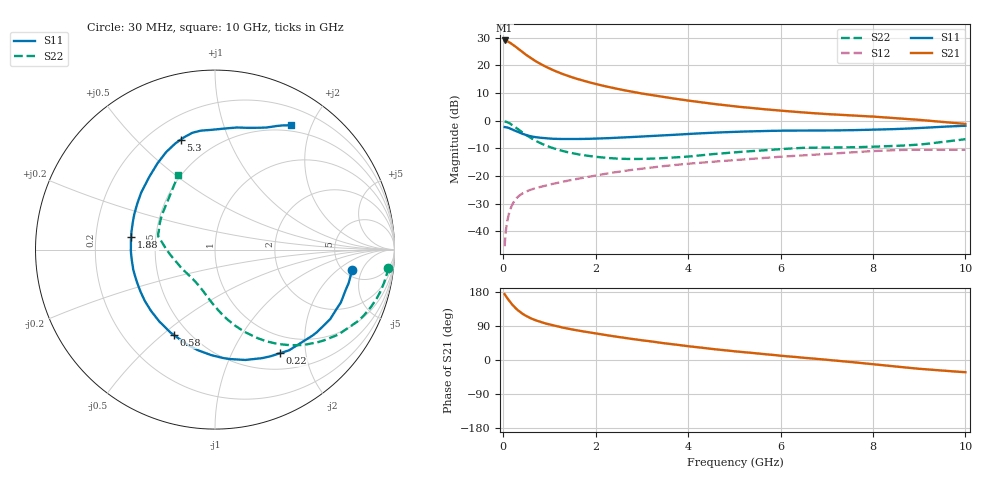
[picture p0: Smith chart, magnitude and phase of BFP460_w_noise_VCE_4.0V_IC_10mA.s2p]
! (c) 2016  Infineon Technologies AG, Munich
! Infineon Technologies  Discrete & RF Semiconductors
! BFP460
! VCE =  4.0 V,  IC =  10 mA
! Common Emitter S-Parameters:  Jan 2016
# GHz  S  MA  R  50
!  f  S11  S21  S12  S22
! GHz  MAG  ANG  MAG  ANG  MAG  ANG  MAG  ANG
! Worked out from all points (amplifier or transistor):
!   229 points, 30 MHz to 10 GHz, reference 50 ohm
!   highest |S21| = 29.1 dB at 30 MHz (marker M1)
!   |S21| within 3 dB of that: start of sweep to 324.5 MHz
!   unconditionally stable (mu >= 1): 2.443 GHz to 7.714 GHz
!   at 280 MHz: K = 0.27, MSG = 27.4 dB, |S12| = -28.2 dB
!   at 1.78 GHz: K = 0.92, MSG = 17.4 dB, |S12| = -20.4 dB
!   at 10 GHz: K = 0.96, MSG = 4.7 dB, |S12| = -10.5 dB
!   lowest NFmin = 0.95 dB at 450 MHz
!   S11 on the Smith chart (normalised r, x): 30 MHz: 5.84, -3.28; 220 MHz: 0.72, -1.56; 580 MHz: 0.42, -0.55; 1.88 GHz: 0.36, +0.06; 5.3 GHz: 0.33, +0.68; 10 GHz: 0.42, +1.71
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0.03  0.7706 -8.5  28.35 173.9  0.0054 81.4  0.9709 -5.9
0.07  0.7608 -20.1  27.81 166.1  0.0122 77.9  0.9543 -13.1
0.12  0.7422 -33.8  26.55 157.7  0.0204 72.7  0.9166 -22.0
0.15  0.724 -41.5  25.66 152.8  0.0247 69.5  0.8881 -26.9
0.22  0.6812 -58.0  23.42 142.9  0.0331 62.6  0.8118 -37.1
0.3  0.6375 -74.7  20.84 133.0  0.0408 56.8  0.7253 -47.1
0.4  0.5884 -92.0  17.9 123.4  0.0476 51.6  0.628 -56.7
0.5  0.5518 -106.2  15.48 115.9  0.0528 48.5  0.5488 -64.2
0.58  0.5285 -115.6  13.91 111.2  0.0561 46.9  0.498 -69.0
0.7  0.5063 -127.9  11.98 104.8  0.0605 45.3  0.4357 -75.5
0.8  0.4935 -136.4  10.71 100.6  0.0637 44.6  0.3957 -79.9
1  0.4769 -150.3  8.824 93.6  0.07 44.3  0.3371 -87.1
1.3  0.4689 -166.2  6.946 85.2  0.0795 44.5  0.2827 -95.9
1.7  0.4693 177.7  5.403 76.1  0.0925 44.6  0.2416 -105.6
1.88  0.4728 171.6  4.913 72.4  0.0986 44.5  0.2298 -109.7
2.6  0.4999 151.3  3.59 58.8  0.1232 42.5  0.2047 -127.7
3.4  0.5394 134.1  2.748 45.7  0.1492 38.5  0.2099 -147.6
5.1  0.6349 109.3  1.792 21.9  0.1973 29.3  0.2731 179.2
5.3  0.6418 107.2  1.724 19.7  0.2033 28.2  0.2798 177.0
6.8  0.6669 93.9  1.357 2.8  0.2454 19.0  0.3266 165.7
8.4  0.7041 74.4  1.13 -16.1  0.2929 6.2  0.3492 149.2
10  0.8128 58.5  0.877 -32.2  0.2985 -5.9  0.4645 116.0
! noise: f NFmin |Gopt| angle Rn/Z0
0.45  0.95  0.14  16  0.15
0.9  1.19  0.12  12  0.13
1.9  1.15  0.07  152  0.12
3.5  1.18  0.34  -137  0.11
